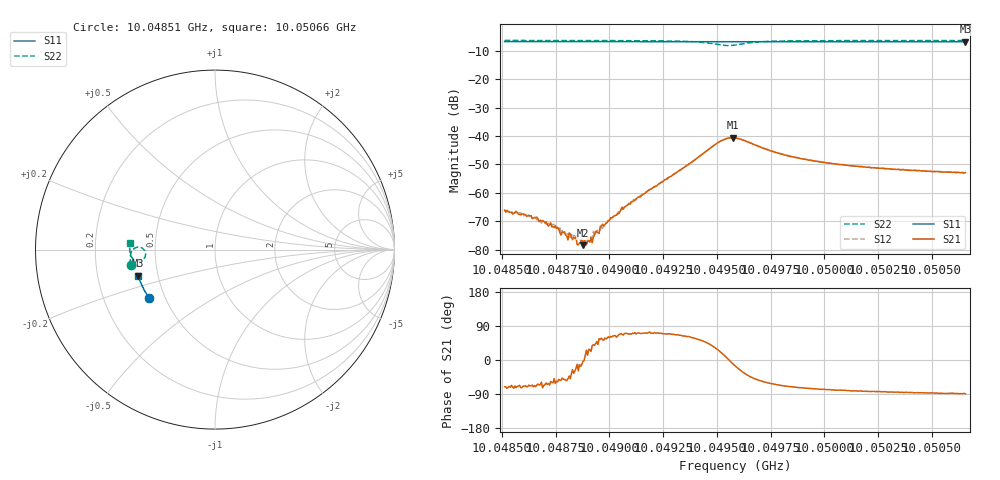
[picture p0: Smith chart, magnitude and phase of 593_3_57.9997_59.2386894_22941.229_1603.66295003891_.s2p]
#  HZ  S  RI  R  50.00
! Rohde & Schwarz Vector Network Analyzer
! Rohde-Schwarz,ZNB20-2Port,1311601062101988,3.16
! Created: UTC 3/21/2024, 1:16:55 AM
! freq[Hz]  re:S11  im:S11  re:S21  im:S21  re:S12  im:S12  re:S22  im:S22
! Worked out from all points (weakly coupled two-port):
!   401 points, 10.04851 GHz to 10.05066 GHz, reference 50 ohm
!   highest |S21| = -40.63 dB at 10.04957 GHz (marker M1); lowest = -78.4 dB at 10.04888 GHz (marker M2)
!   lowest |S11| = -6.9 dB at 10.05066 GHz (marker M3), VSWR 2.65, Z = 19.3 - j7.08 ohm
!   |S11| at or under -10 dB: nowhere
!   |S22| runs from -8.2 to -6.4 dB; largest |S21 - S12| = 0.00068
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1.0048512e10  -0.3664 -0.2716  0.000167 -0.000471  0.00017 -0.000454  -0.4694 -0.0847
1.0048577e10  -0.3688 -0.2678  0.000156 -0.000395  0.000155 -0.000414  -0.4701 -0.08
1.0048657e10  -0.3717 -0.2636  0.000125 -0.000349  0.000159 -0.000324  -0.4709 -0.074
1.0048748e10  -0.3751 -0.2585  0.000126 -0.000235  0.000145 -0.000213  -0.4714 -0.0669
1.0048796e10  -0.3768 -0.2559  0.000109 -0.000145  0.000129 -0.00013  -0.4716 -0.0631
1.0048823e10  -0.3777 -0.2544  0.000137 -9.9e-05  0.000167 -8.25e-05  -0.4717 -0.061
1.0048855e10  -0.3788 -0.2525  0.000108 -5.85e-05  0.000156 2.06e-06  -0.4719 -0.0584
1.0048871e10  -0.3795 -0.2517  0.00015 -3.08e-05  0.000115 -1.2e-05  -0.472 -0.0571
1.0048877e10  -0.3797 -0.2514  0.00012 -7.17e-06  0.000148 -2.55e-06  -0.4721 -0.0566
1.0048888e10  -0.38 -0.2507  0.000132 2.75e-05  0.000132 1.86e-05  -0.4721 -0.0557
1.0048909e10  -0.3808 -0.2495  0.000121 6.32e-05  0.000146 6.84e-05  -0.4721 -0.0538
1.0048968e10  -0.3828 -0.2462  0.000166 0.000228  0.000133 0.000198  -0.4721 -0.0487
1.0049038e10  -0.3851 -0.2422  0.000196 0.000381  0.000158 0.000415  -0.4718 -0.0423
1.0049064e10  -0.386 -0.2409  0.000213 0.000474  0.000177 0.000494  -0.4719 -0.0396
1.0049231e10  -0.3914 -0.2311  0.000483 0.00137  0.000407 0.00136  -0.4685 -0.0209
1.0049504e10  -0.3992 -0.2149  0.00676 0.00349  0.0065 0.00391  -0.4059 0.00823
1.0049574e10  -0.4009 -0.2113  0.00917 -0.00156  0.00931 -0.000906  -0.3891 -0.0387
1.0049584e10  -0.4012 -0.2109  0.00891 -0.00243  0.00908 -0.00183  -0.3929 -0.0464
1.0049783e10  -0.4074 -0.1996  0.00207 -0.00459  0.00235 -0.0045  -0.4623 -0.0451
1.0049944e10  -0.4118 -0.1898  0.000909 -0.00358  0.00112 -0.00352  -0.4718 -0.023
1.0050303e10  -0.4207 -0.1679  0.000237 -0.00263  0.000399 -0.00263  -0.4754 0.0106
1.0050656e10  -0.4282 -0.1458  3.31e-05 -0.00227  0.00017 -0.00224  -0.4744 0.0373
